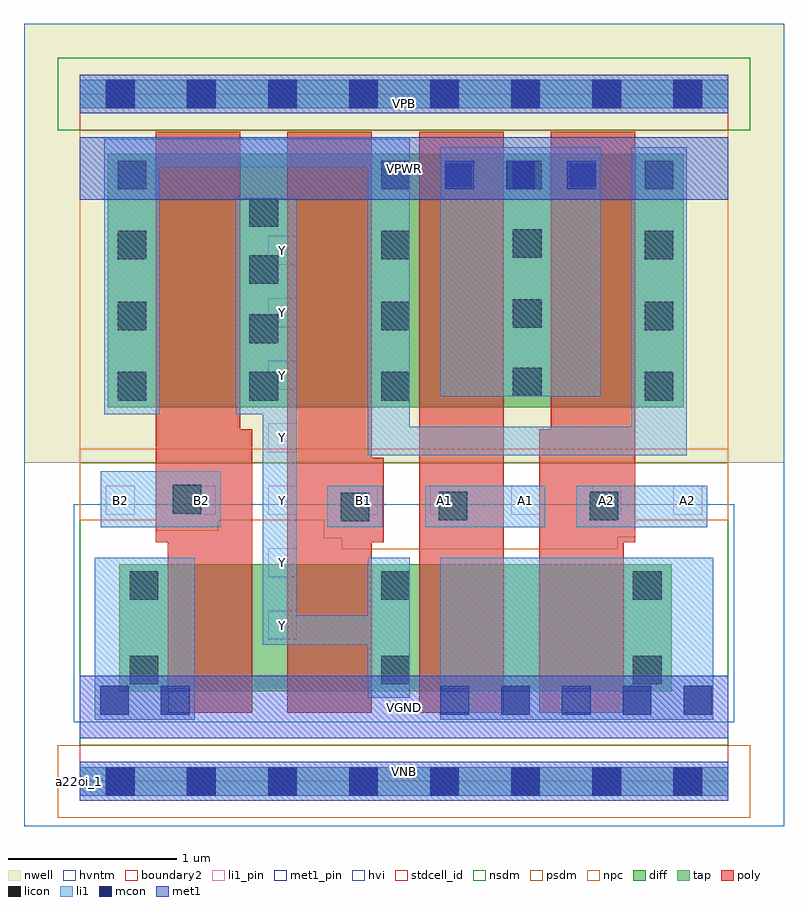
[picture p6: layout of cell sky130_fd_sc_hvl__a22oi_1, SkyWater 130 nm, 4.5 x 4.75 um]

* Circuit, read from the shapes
.subckt sky130_fd_sc_hvl__a22oi_1 A1 A2 B1 B2 VGND VNB VPB VPWR Y
XM1 n1 B2 VGND VNB sky130_fd_pr__nfet_g5v0d10v5 w=0.75 l=0.5
XM2 Y B1 n1 VNB sky130_fd_pr__nfet_g5v0d10v5 w=0.75 l=0.5
XM3 n2 A1 Y VNB sky130_fd_pr__nfet_g5v0d10v5 w=0.75 l=0.5
XM4 VGND A2 n2 VNB sky130_fd_pr__nfet_g5v0d10v5 w=0.75 l=0.5
XM5 Y B2 n3 VPB sky130_fd_pr__pfet_g5v0d10v5 w=1.5 l=0.5
XM6 n3 B1 Y VPB sky130_fd_pr__pfet_g5v0d10v5 w=1.5 l=0.5
XM7 VPWR A1 n3 VPB sky130_fd_pr__pfet_g5v0d10v5 w=1.5 l=0.5
XM8 n3 A2 VPWR VPB sky130_fd_pr__pfet_g5v0d10v5 w=1.5 l=0.5
.ends

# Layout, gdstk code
import gdstk
lib = gdstk.Library(unit=1e-6, precision=1e-09)
def R(c, l, rs):  # rectangles x0, y0, x1, y1
    for r in rs: c.add(gdstk.rectangle(r[:2], r[2:], *l))
def A(c, l, x, y, w, h, nx, ny, dx, dy):  # array of equal rectangles
    R(c, l, [(x+i*dx, y+j*dy, x+i*dx+w, y+j*dy+h) for i in range(nx) for j in range(ny)])
def P(c, l, *ps):  # polygons
    for p in ps: c.add(gdstk.Polygon(p, *l))
nwell = (64, 20)
diff = (65, 20)
tap = (65, 44)
poly = (66, 20)
licon = (66, 44)
li1_pin = (67, 16)
li1 = (67, 20)
mcon = (67, 44)
met1_pin = (68, 16)
met1 = (68, 20)
hvi = (75, 20)
stdcell_id = (81, 4)
nsdm = (93, 44)
psdm = (94, 20)
npc = (95, 20)
hvntm = (125, 20)
boundary2 = (236, 0)

sky130_fd_sc_hvl__a22oi_ = lib.new_cell('sky130_fd_sc_hvl__a22oi_1')
R(sky130_fd_sc_hvl__a22oi_, nwell, [(-0.33,1.885,4.17,4.485)])
R(sky130_fd_sc_hvl__a22oi_, diff, [(0.235,0.535,3.505,1.285), (0.165,2.215,3.575,3.715)])
R(sky130_fd_sc_hvl__a22oi_, tap, [(0,-0.085,3.84,0.085), (0,3.985,3.84,4.155)])
R(sky130_fd_sc_hvl__a22oi_, poly, [(2.01,0.405,2.51,3.845)])
P(sky130_fd_sc_hvl__a22oi_, poly, [(1.02,2.085),(0.95,2.085),(0.95,3.845),(0.45,3.845),(0.45,1.415),(0.52,1.415),(0.52,0.405),(1.02,0.405)],
  [(1.8,1.915),(1.73,1.915),(1.73,3.845),(1.23,3.845),(1.23,0.405),(1.73,0.405),(1.73,1.415),(1.8,1.415)],
  [(3.29,3.845),(2.79,3.845),(2.79,2.085),(2.72,2.085),(2.72,0.405),(3.22,0.405),(3.22,1.415),(3.29,1.415)])
A(sky130_fd_sc_hvl__a22oi_, licon, 0.155, -0.085, 0.17, 0.17, 8, 2, 0.48, 4.07)
A(sky130_fd_sc_hvl__a22oi_, licon, 0.295, 0.575, 0.17, 0.17, 3, 2, 1.49, 0.5)
A(sky130_fd_sc_hvl__a22oi_, licon, 0.225, 2.255, 0.17, 0.17, 3, 1, 0.78, 0)
A(sky130_fd_sc_hvl__a22oi_, licon, 0.225, 2.67, 0.17, 0.17, 3, 2, 1.56, 0.42)
A(sky130_fd_sc_hvl__a22oi_, licon, 1.785, 3.505, 0.17, 0.17, 3, 1, 0.78, 0)
R(sky130_fd_sc_hvl__a22oi_, licon, [(1.545,1.54,1.715,1.71), (2.125,1.545,2.295,1.715), (3.02,1.545,3.19,1.715), (0.55,1.585,0.72,1.755), (3.345,2.255,3.515,2.425), (2.565,2.28,2.735,2.45), (1.005,2.595,1.175,2.765), (2.565,2.685,2.735,2.855), (1.005,2.945,1.175,3.115), (2.565,3.1,2.735,3.27), (1.005,3.285,1.175,3.455), (0.225,3.505,0.395,3.675)])
A(sky130_fd_sc_hvl__a22oi_, li1_pin, 0.155, 1.58, 0.17, 0.17, 8, 1, 0.48, 0)
A(sky130_fd_sc_hvl__a22oi_, li1_pin, 1.115, 1.95, 0.17, 0.17, 1, 4, 0, 0.37)
R(sky130_fd_sc_hvl__a22oi_, li1_pin, [(1.115,0.84,1.285,1.01), (1.115,1.21,1.285,1.38)])
R(sky130_fd_sc_hvl__a22oi_, li1, [(0,-0.085,3.84,0.085), (0.09,0.365,0.68,1.325), (2.135,0.365,3.75,1.325), (0.125,1.505,0.835,1.835), (1.465,1.505,1.795,1.75), (2.045,1.505,2.755,1.75), (2.94,1.505,3.715,1.75), (2.135,2.28,3.085,3.755), (0,3.985,3.84,4.155)])
P(sky130_fd_sc_hvl__a22oi_, li1, [(1.955,1.325),(1.705,1.325),(1.705,0.98),(1.285,0.98),(1.285,3.455),(0.925,3.455),(0.925,2.175),(1.085,2.175),(1.085,0.81),(1.705,0.81),(1.705,0.495),(1.955,0.495)],
  [(3.595,3.755),(3.265,3.755),(3.265,2.1),(1.955,2.1),(1.955,3.805),(0.145,3.805),(0.145,2.175),(0.475,2.175),(0.475,3.635),(1.705,3.635),(1.705,1.93),(3.595,1.93)])
A(sky130_fd_sc_hvl__a22oi_, mcon, 2.135, 0.395, 0.17, 0.17, 5, 1, 0.36, 0)
A(sky130_fd_sc_hvl__a22oi_, mcon, 2.165, 3.505, 0.17, 0.17, 3, 1, 0.36, 0)
R(sky130_fd_sc_hvl__a22oi_, mcon, [(0.155,-0.085,0.325,0.085), (0.155,-0.085,0.325,0.085), (0.635,-0.085,0.805,0.085), (0.635,-0.085,0.805,0.085), (1.115,-0.085,1.285,0.085), (1.115,-0.085,1.285,0.085), (1.595,-0.085,1.765,0.085), (1.595,-0.085,1.765,0.085), (2.075,-0.085,2.245,0.085), (2.075,-0.085,2.245,0.085), (2.555,-0.085,2.725,0.085), (2.555,-0.085,2.725,0.085), (3.035,-0.085,3.205,0.085), (3.035,-0.085,3.205,0.085), (3.515,-0.085,3.685,0.085), (3.515,-0.085,3.685,0.085), (0.12,0.395,0.29,0.565), (0.48,0.395,0.65,0.565), (0.155,3.985,0.325,4.155), (0.155,3.985,0.325,4.155), (0.635,3.985,0.805,4.155), (0.635,3.985,0.805,4.155), (1.115,3.985,1.285,4.155), (1.115,3.985,1.285,4.155), (1.595,3.985,1.765,4.155), (1.595,3.985,1.765,4.155), (2.075,3.985,2.245,4.155), (2.075,3.985,2.245,4.155), (2.555,3.985,2.725,4.155), (2.555,3.985,2.725,4.155), (3.035,3.985,3.205,4.155), (3.035,3.985,3.205,4.155), (3.515,3.985,3.685,4.155), (3.515,3.985,3.685,4.155)])
R(sky130_fd_sc_hvl__a22oi_, met1_pin, [(0,0,3.84,0.115), (0,0.255,3.84,0.625), (0,3.445,3.84,3.815), (0,3.955,3.84,4.07)])
R(sky130_fd_sc_hvl__a22oi_, met1, [(0,-0.115,3.84,0.115), (0,0.255,3.84,0.625), (0,3.445,3.84,3.815), (0,3.955,3.84,4.185)])
R(sky130_fd_sc_hvl__a22oi_, hvi, [(-0.33,-0.265,4.17,4.485)])
R(sky130_fd_sc_hvl__a22oi_, stdcell_id, [(0,0,3.84,4.07)])
R(sky130_fd_sc_hvl__a22oi_, nsdm, [(0,0.215,3.84,1.885), (-0.13,3.855,3.97,4.285), (0,3.855,3.84,4.07)])
R(sky130_fd_sc_hvl__a22oi_, psdm, [(-0.13,-0.215,3.97,0.215), (0,1.885,3.84,3.855)])
P(sky130_fd_sc_hvl__a22oi_, npc, [(3.84,1.97),(0,1.97),(0,1.545),(0.45,1.545),(0.45,1.485),(0.82,1.485),(0.82,1.545),(1.445,1.545),(1.445,1.44),(1.55,1.44),(1.55,1.375),(3.185,1.375),(3.185,1.445),(3.29,1.445),(3.29,1.545),(3.84,1.545)])
R(sky130_fd_sc_hvl__a22oi_, hvntm, [(-0.035,0.35,3.875,1.64)])
R(sky130_fd_sc_hvl__a22oi_, boundary2, [(0,0,3.84,4.07)])
sky130_fd_sc_hvl__a22oi_.add(gdstk.Label('a22oi_1', (0,0), layer=83, texttype=44))
sky130_fd_sc_hvl__a22oi_.add(gdstk.Label('VGND', (1.92,0.44), layer=68, texttype=5))
sky130_fd_sc_hvl__a22oi_.add(gdstk.Label('VNB', (1.92,0.058), layer=68, texttype=5))
sky130_fd_sc_hvl__a22oi_.add(gdstk.Label('VPWR', (1.92,3.63), layer=68, texttype=5))
sky130_fd_sc_hvl__a22oi_.add(gdstk.Label('VPB', (1.92,4.013), layer=68, texttype=5))
sky130_fd_sc_hvl__a22oi_.add(gdstk.Label('A1', (2.16,1.665), layer=67, texttype=5))
sky130_fd_sc_hvl__a22oi_.add(gdstk.Label('A1', (2.64,1.665), layer=67, texttype=5))
sky130_fd_sc_hvl__a22oi_.add(gdstk.Label('Y', (1.2,0.925), layer=67, texttype=5))
sky130_fd_sc_hvl__a22oi_.add(gdstk.Label('Y', (1.2,1.295), layer=67, texttype=5))
sky130_fd_sc_hvl__a22oi_.add(gdstk.Label('Y', (1.2,1.665), layer=67, texttype=5))
sky130_fd_sc_hvl__a22oi_.add(gdstk.Label('Y', (1.2,2.035), layer=67, texttype=5))
sky130_fd_sc_hvl__a22oi_.add(gdstk.Label('Y', (1.2,2.405), layer=67, texttype=5))
sky130_fd_sc_hvl__a22oi_.add(gdstk.Label('Y', (1.2,2.775), layer=67, texttype=5))
sky130_fd_sc_hvl__a22oi_.add(gdstk.Label('Y', (1.2,3.145), layer=67, texttype=5))
sky130_fd_sc_hvl__a22oi_.add(gdstk.Label('A2', (3.12,1.665), layer=67, texttype=5))
sky130_fd_sc_hvl__a22oi_.add(gdstk.Label('A2', (3.6,1.665), layer=67, texttype=5))
sky130_fd_sc_hvl__a22oi_.add(gdstk.Label('B1', (1.68,1.665), layer=67, texttype=5))
sky130_fd_sc_hvl__a22oi_.add(gdstk.Label('B2', (0.24,1.665), layer=67, texttype=5))
sky130_fd_sc_hvl__a22oi_.add(gdstk.Label('B2', (0.72,1.665), layer=67, texttype=5))

lib.write_gds('sky130_fd_sc_hvl__a22oi_1.gds')
